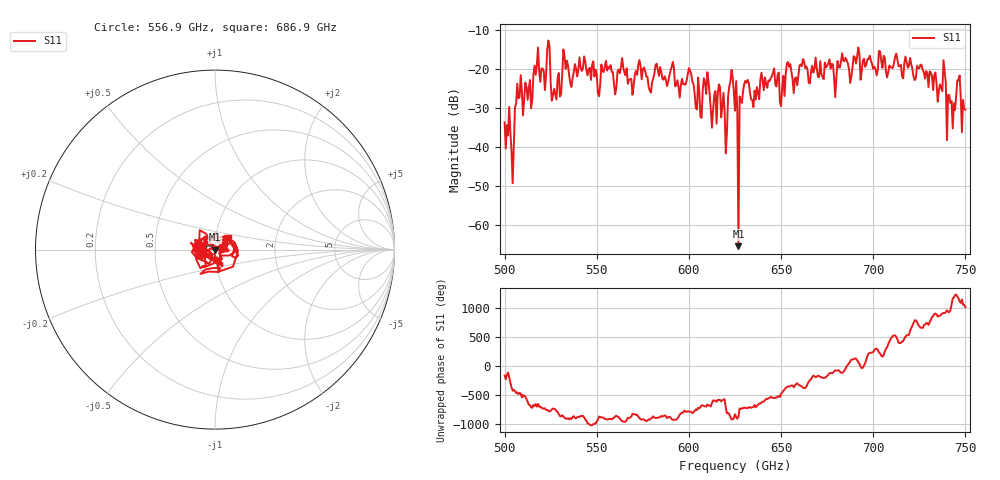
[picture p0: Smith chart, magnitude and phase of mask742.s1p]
!Created with skrf (http://scikit-rf.org).
# GHz S MA R 50.0
!freq magS11 angS11
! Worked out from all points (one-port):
!   401 points, 500 GHz to 750 GHz, reference 50 ohm
!   lowest |S11| = -65.3 dB at 626.9 GHz (marker M1), VSWR 1.00, Z = 49.9 - j0.0212 ohm
!   |S11| at or under -10 dB: start of sweep to end of sweep
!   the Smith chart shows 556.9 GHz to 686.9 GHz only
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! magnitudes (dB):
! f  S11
! 500 GHz  -33.7
! 504.4 GHz  -49.2
! 507.5 GHz  -27.5
! 513.8 GHz  -22.8
! 516.9 GHz  -21.5
! 523.8 GHz  -12.7
! 526.9 GHz  -25.1
! 531.2 GHz  -21.6
! 562.5 GHz  -21.1
! 579.4 GHz  -26.1
! 590.6 GHz  -19.5
! 593.8 GHz  -22.9
! 600.6 GHz  -20.4
! 605.6 GHz  -25.8
! 609.4 GHz  -26.4
! 619.4 GHz  -30.9
! 622.5 GHz  -23.3
! 625 GHz  -30.7
! 625.6 GHz  -23.1
! 626.9 GHz  -65.3
! 631.2 GHz  -23.5
! 635 GHz  -29.7
! 656.2 GHz  -22.7
! 687.5 GHz  -23.6
! 718.8 GHz  -19.7
! 743.1 GHz  -35.2
! 746.2 GHz  -23.0
! 750 GHz  -30.4
